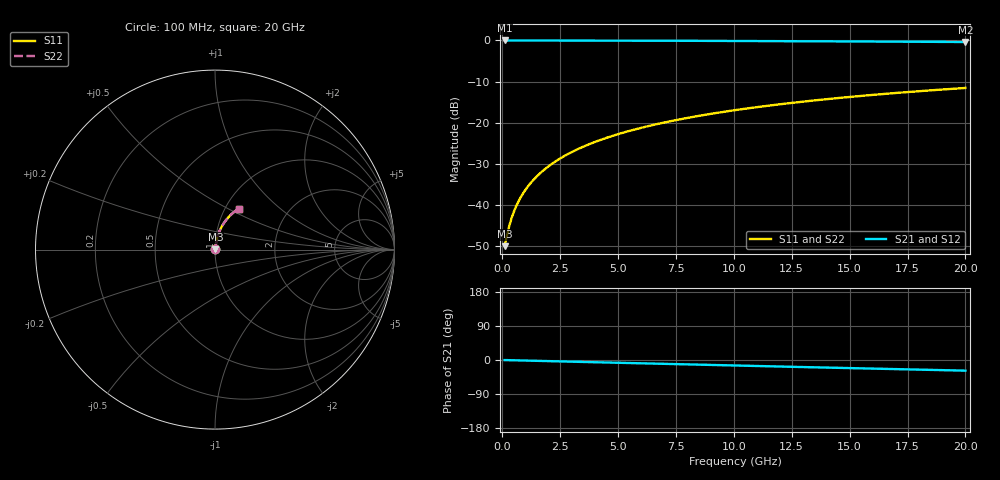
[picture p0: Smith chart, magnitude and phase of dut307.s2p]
! Touchstone file exported from HFSS 2026.1.0
!  File:  C:/ffzhzh/LocalFiles/Ansys_Project_Files/temp_train_BSMRDL_307_1783010608_53980.aedt
!  Generated:  12:44:52 AM Jul  3, 2026
!  Design:  BSMRDL
!  Project:  temp_train_BSMRDL_307_1783010608_53980
! Variables:
!  h_bsmrdl = 3.08um
!  h_ox = 20um
!  h_rdl = 5um
!  h_sub = 80um
!  h_tmrdl = 5um
!  h_tsv = 80um
!  h_via = 3um
!  l_bsmrdl = 396.01um
!  l_sub = 796.01um
!  l_tmrdl = 200um
!  m_sub = 200um
!  pitch = 38.3um
!  r_tsv = 6um
!  s_tmrdl = 10um
!  w_bsmrdl = 17.95um
!  w_sub = 500um
!  w_tmrdl = 12um
!  x_tsv_center1 = 206um
!  x_tsv_center2 = 619.96um
!  x_tsv_center3 = 831.96um
!  x_tsv_center4 = 1245.92um
!  x_tsv_center5 = 1457.92um
!  x_tsv_center6 = 1871.88um
# GHz S MA R 50.000000
! Terminal data exported
! Port[1] = BSM_RDL1_1_T1
! Port[2] = BSM_RDL1_1_T2
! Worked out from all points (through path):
!   200 points, 100 MHz to 20 GHz, reference 50 ohm
!   highest |S21| = -0.02 dB at 100 MHz (marker M1); lowest = -0.4 dB at 20 GHz (marker M2)
!   group delay of S21, straight-line fit = 3.91 ps
!   lowest |S11| = -49.9 dB at 100 MHz (marker M3), VSWR 1.01, Z = 50.3 + j0.162 ohm
!   |S11| at or under -10 dB: start of sweep to end of sweep
!   |S22| runs from -49.9 to -11.5 dB; largest |S21 - S12| = 4.5e-15
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0.1  0.003182 30.5  0.9973 -0.2  0.9973 -0.2  0.003182 30.5
! Gamma 0 0 0 0
! Port Impedance 50 0 50 0
0.2  0.004274 48.4  0.9972 -0.3  0.9972 -0.3  0.004274 48.4
0.3  0.005583 58.0  0.9971 -0.5  0.9971 -0.5  0.005583 58.0
0.4  0.006955 63.6  0.997 -0.6  0.997 -0.6  0.006955 63.6
0.5  0.008342 67.3  0.9969 -0.8  0.9969 -0.8  0.008342 67.3
0.6  0.009737 69.9  0.9968 -0.9  0.9968 -0.9  0.009737 69.9
0.8  0.01254 73.5  0.9966 -1.2  0.9966 -1.2  0.01254 73.5
1.1  0.01679 76.6  0.9964 -1.6  0.9964 -1.6  0.01679 76.6
1.3  0.01964 77.9  0.9963 -1.9  0.9963 -1.9  0.01964 77.9
1.6  0.02394 79.1  0.9962 -2.4  0.9962 -2.4  0.02394 79.1
2.1  0.03114 80.1  0.9959 -3.1  0.9959 -3.1  0.03114 80.1
2.7  0.0398 80.5  0.9954 -4.0  0.9954 -4.0  0.0398 80.5
3.5  0.05133 80.3  0.9947 -5.1  0.9947 -5.1  0.05133 80.3
4.2  0.06137 79.9  0.9939 -6.2  0.9939 -6.2  0.06137 79.8
5  0.07277 79.1  0.9928 -7.3  0.9928 -7.3  0.07277 79.1
5.9  0.08548 78.1  0.9915 -8.6  0.9915 -8.6  0.08549 78.1
6.8  0.09807 77.0  0.9899 -9.9  0.9899 -9.9  0.09807 77.0
8.3  0.1187 75.1  0.9871 -12.1  0.9871 -12.1  0.1187 75.1
10.1  0.143 72.8  0.9832 -14.6  0.9832 -14.6  0.143 72.7
13.4  0.1858 68.4  0.9749 -19.2  0.9749 -19.2  0.1858 68.4
16.7  0.2264 64.1  0.9654 -23.7  0.9654 -23.7  0.2264 64.1
20  0.2646 59.9  0.955 -28.1  0.955 -28.1  0.2646 59.8
